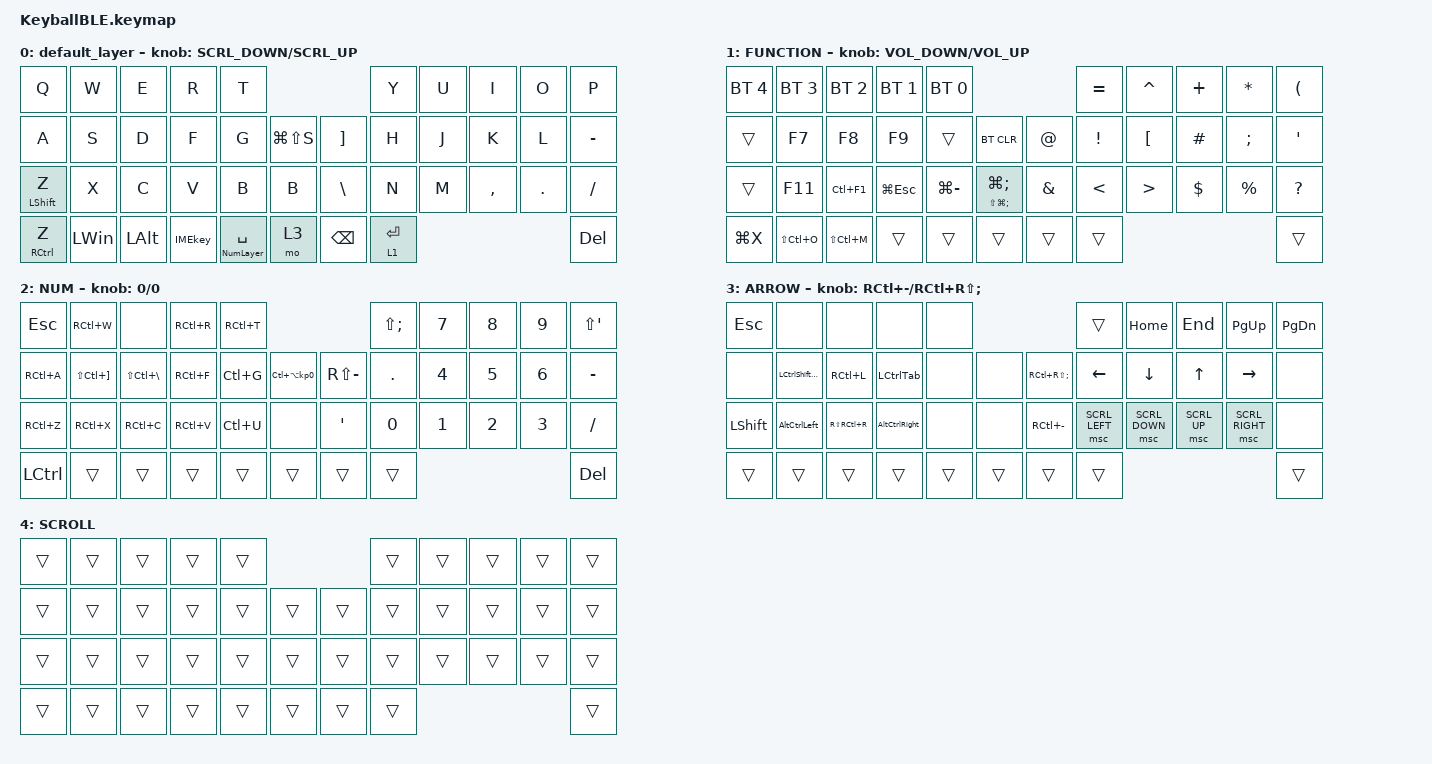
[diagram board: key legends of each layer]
#define ZMK_POINTING_DEFAULT_SCRL_VAL 120    // default: 10

#include <behaviors.dtsi>
#include <dt-bindings/zmk/bt.h>
#include <dt-bindings/zmk/keys.h>
#include <dt-bindings/zmk/pointing.h>

#define MOUSE 4
#define SCROLL 5
#define NUM 6

&mt {
    flavor = "balanced";
    quick-tap-ms = <0>;
};

&lt { tapping-term-ms = <120>; };

/ {
    combos {
        compatible = "zmk,combos";

        ShiftTab {
            bindings = <&kp LS(TAB)>;
            key-positions = <0 1>;
        };

        LLClick {
            bindings = <&mkp LCLK>;
            key-positions = <13 12>;
        };

        LRClick {
            bindings = <&mkp RCLK>;
            key-positions = <11 12>;
        };

        RRCtrl {
            bindings = <&kp RIGHT_CONTROL>;
            key-positions = <20 21>;
        };

        RLClick {
            bindings = <&mkp LCLK>;
            key-positions = <30 31>;
        };

        RRClick {
            bindings = <&mkp RCLK>;
            key-positions = <31 32>;
        };

        RMClick {
            bindings = <&mkp MCLK>;
            key-positions = <31 30 32>;
        };

        LMClick {
            bindings = <&mkp MB3>;
            key-positions = <11 12 13>;
        };

        tab2 {
            bindings = <&kp TAB>;
            key-positions = <2 1>;
        };

        LEscape {
            bindings = <&kp ESCAPE>;
            key-positions = <10 13>;
        };

        kickWinSwitch {
            bindings = <&kp LEFT_CONTROL>;
            key-positions = <10 38>;
        };

        kickArrow {
            bindings = <&mo 3>;
            key-positions = <11 13>;
        };

        LLCtrl {
            bindings = <&kp LEFT_CONTROL>;
            key-positions = <10 11>;
        };

        kickWinSwitch2 {
            bindings = <&kp LEFT_ALT>;
            key-positions = <10 37>;
        };
    };

    macros {
        to_layer_0: to_layer_0 {
            compatible = "zmk,behavior-macro-one-param";
            #binding-cells = <1>;
            bindings = <&to 0 &macro_param_1to1 &kp MACRO_PLACEHOLDER>;
            label = "TO_LAYER_0";
        };

        NumLayer: NumLayer {
            compatible = "zmk,behavior-macro";
            #binding-cells = <0>;
            bindings =
                <&macro_press>,
                <&kp INTERNATIONAL_5 &mo 2>,
                <&macro_pause_for_release>,
                <&macro_release>,
                <&kp INTERNATIONAL_5 &mo 2>;

            label = "NUMLAYER";
        };

        tempInt5: tempInt5 {
            compatible = "zmk,behavior-macro";
            #binding-cells = <0>;
            bindings =
                <&macro_press>,
                <&kp INTERNATIONAL_5>,
                <&macro_pause_for_release>,
                <&macro_release>,
                <&kp INTERNATIONAL_5>,
                <&macro_tap>,
                <&kp INTERNATIONAL_4>;

            label = "TEMPINT5";
        };

        LCtrlTab: LCtrlTab {
            compatible = "zmk,behavior-macro";
            #binding-cells = <0>;
            bindings =
                <&macro_press>,
                <&kt RIGHT_CONTROL>,
                <&macro_tap>,
                <&kp TAB>,
                <&macro_release>,
                <&kp RIGHT_CONTROL>;

            label = "LCTRLTAB";
        };

        LCtrlShiftTab: LCtrlShiftTab {
            compatible = "zmk,behavior-macro";
            #binding-cells = <0>;
            bindings =
                <&macro_press>,
                <&kt RIGHT_CONTROL &kp LEFT_SHIFT>,
                <&macro_tap>,
                <&kp TAB>,
                <&macro_release>,
                <&kp RIGHT_CONTROL &kp LEFT_SHIFT>;

            label = "LCTRLSHIFTTAB";
        };

        AltCtrlRight: AltCtrlRight {
            compatible = "zmk,behavior-macro";
            #binding-cells = <0>;
            bindings =
                <&kp RA(RIGHT_ARROW)>,
                <&macro_wait_time 20>,
                <&kp LC(RIGHT_ARROW)>;

            label = "ALTCTRLRIGHT";
        };

        AltCtrlLeft: AltCtrlLeft {
            compatible = "zmk,behavior-macro";
            #binding-cells = <0>;
            bindings =
                <&kp RA(LEFT_ARROW)>,
                <&macro_wait_time 20>,
                <&kp LC(LEFT_ARROW)>;

            label = "ALTCTRLLEFT";
        };
    };

    behaviors {
        lt_to_layer_0: lt_to_layer_0 {
            compatible = "zmk,behavior-hold-tap";
            label = "LAYER_TAP_TO_0";
            bindings = <&mo>, <&to_layer_0>;

            #binding-cells = <2>;
            tapping-term-ms = <200>;
        };

        ROTATE: ROTATE {
            compatible = "zmk,behavior-sensor-rotate-var";
            label = "ROTATE";
            #sensor-binding-cells = <2>;
            bindings = <&msc>, <&msc>;

            tap-ms = <20>;
        };

        gotoNumLayer: gotoNumLayer {
            compatible = "zmk,behavior-hold-tap";
            label = "GOTONUMLAYER";
            bindings = <&NumLayer>, <&kp>;

            #binding-cells = <2>;
            tapping-term-ms = <120>;
        };

        IMEkey: IMEkey {
            compatible = "zmk,behavior-tap-dance";
            label = "IMEKEY";
            #binding-cells = <0>;
            bindings = <&kp INTERNATIONAL_5>, <&kp INTERNATIONAL_4>;

            tapping-term-ms = <300>;
        };
    };

    keymap {
        compatible = "zmk,keymap";

        default_layer {
            bindings = <
&kp Q                &kp W         &kp E         &kp R    &kp T                                                        &kp Y        &kp U  &kp I      &kp O    &kp P
&kp A                &kp S         &kp D         &kp F    &kp G                  &kp LG(LS(S))      &kp RIGHT_BRACKET  &kp H        &kp J  &kp K      &kp L    &kp MINUS
&mt LEFT_SHIFT Z     &kp X         &kp C         &kp V    &kp B                  &kp B              &kp BACKSLASH      &kp N        &kp M  &kp COMMA  &kp DOT  &kp SLASH
&mt RIGHT_CONTROL Z  &kp LEFT_WIN  &kp LEFT_ALT  &IMEkey  &gotoNumLayer 0 SPACE  &mo 3              &kp BACKSPACE      &lt 1 ENTER                             &kp DEL
            >;

            sensor-bindings = <&ROTATE SCRL_DOWN SCRL_UP>;
        };

        FUNCTION {
            bindings = <
&bt BT_SEL 4  &bt BT_SEL 3   &bt BT_SEL 2   &bt BT_SEL 1    &bt BT_SEL 0                                                 &kp EQUAL        &kp CARET         &kp PLUS    &kp ASTERISK   &kp LEFT_PARENTHESIS
&trans        &kp F7         &kp F8         &kp F9          &trans         &bt BT_CLR                     &kp AT_SIGN    &kp EXCLAMATION  &kp LEFT_BRACKET  &kp HASH    &kp SEMICOLON  &kp SQT
&trans        &kp F11        &kp LC(F1)     &kp LG(ESCAPE)  &kp LG(MINUS)  &mt LS(LG(SEMI)) LG(SEMI)      &kp AMPERSAND  &kp LESS_THAN    &kp GREATER_THAN  &kp DOLLAR  &kp PERCENT    &kp QUESTION
&kp LG(X)     &kp LS(LC(O))  &kp LS(LC(M))  &trans          &trans         &trans                         &trans         &trans                                                        &trans
            >;

            sensor-bindings = <&inc_dec_kp C_VOLUME_DOWN C_VOLUME_UP>;
        };

        NUM {
            bindings = <
&kp ESCAPE        &kp RC(W)                  &none                  &kp RC(R)  &kp RC(T)                                              &kp LS(SEMICOLON)  &kp N7        &kp N8        &kp N9        &kp LS(SQT)
&kp RC(A)         &kp LS(LC(RIGHT_BRACKET))  &kp LS(LC(BACKSLASH))  &kp RC(F)  &kp LC(G)  &kp LC(LA(KP_NUMBER_0))      &kp RS(MINUS)  &kp PERIOD         &kp NUMBER_4  &kp N5        &kp NUMBER_6  &kp MINUS
&kp RC(Z)         &kp RC(X)                  &kp RC(C)              &kp RC(V)  &kp LC(U)  &none                        &kp SQT        &kp N0             &kp NUMBER_1  &kp NUMBER_2  &kp NUMBER_3  &kp SLASH
&kp LEFT_CONTROL  &trans                     &trans                 &trans     &trans     &trans                       &trans         &trans                                                       &kp DELETE
            >;

            sensor-bindings = <&inc_dec_kp 0 0>;
        };

        ARROW {
            bindings = <
&kp ESCAPE      &none           &none          &none          &none                                      &trans          &kp HOME        &kp END       &kp PAGE_UP      &kp PAGE_DOWN
&none           &LCtrlShiftTab  &kp RC(L)      &LCtrlTab      &none   &none       &kp RC(RS(SEMICOLON))  &kp LEFT_ARROW  &kp DOWN_ARROW  &kp UP_ARROW  &kp RIGHT_ARROW  &none
&kp LEFT_SHIFT  &AltCtrlLeft    &kp RS(RC(R))  &AltCtrlRight  &none   &none       &kp RC(MINUS)          &msc SCRL_LEFT  &msc SCRL_DOWN  &msc SCRL_UP  &msc SCRL_RIGHT  &none
&trans          &trans          &trans         &trans         &trans  &trans      &trans                 &trans                                                         &trans
            >;

            sensor-bindings = <&inc_dec_kp RC(MINUS) RC(RS(SEMICOLON))>;
        };

        SCROLL {
            bindings = <
&trans  &trans  &trans  &trans  &trans                      &trans  &trans  &trans  &trans  &trans
&trans  &trans  &trans  &trans  &trans  &trans      &trans  &trans  &trans  &trans  &trans  &trans
&trans  &trans  &trans  &trans  &trans  &trans      &trans  &trans  &trans  &trans  &trans  &trans
&trans  &trans  &trans  &trans  &trans  &trans      &trans  &trans                          &trans
            >;
        };
    };
};
